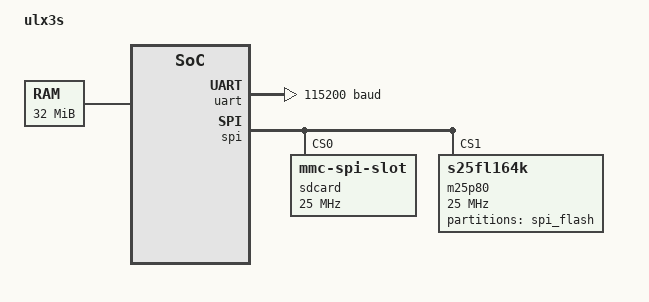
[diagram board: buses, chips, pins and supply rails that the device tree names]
/dts-v1/;

/ {
	model = "ulx3s";
	compatible = "jcore,j2-soc";
	#address-cells = <1>;
	#size-cells = <1>;
	interrupt-parent = <&aic>;

	aliases {
		serial0 = &uart;
	};

	chosen {
		stdout-path = "serial0:115200n8";
		bootargs = "console=ttyUL0 earlycon";
	};

	cpus {
		#address-cells = <1>;
		#size-cells = <0>;


		cpu@0 {
			device_type = "cpu";
			compatible = "jcore,j4";
			clock-frequency = <20000000>;
			reg = <0>;
		};
	};

	clocks {

		bus_clock: bus_clock {
			compatible = "fixed-clock";
			#clock-cells = <0>;
			clock-frequency = <20000000>;
		};
	};

	memory@10000000 {
		device_type = "memory";
		reg = <0x10000000 0x2000000>;
	};

	soc@abcd0000 {
		compatible = "simple-bus";
		ranges = <0x0 0xabcd0000 0x208>;
		#address-cells = <1>;
		#size-cells = <1>;

		timer {
			compatible = "jcore,pit";
			reg = <0x40 0x30>;
			interrupts = <0x10>;
		};

		gpio2 {
			compatible = "jcore,gpio2";
			reg = <0x0 0x10>; // ABCD0000-ABCD000F
		};

		aic: interrupt-controller {
			#interrupt-cells = <1>;
			compatible = "jcore,aic1";
			interrupt-controller;
			reg = <0x40 0x40>; // ABCD0040-ABCD007F
		};

		uart: serial {
			compatible = "jcore,uartlite", "xlnx,xps-uartlite-1.00.a";
			device_type = "serial";
			clock-frequency = <20000000>;
			current-speed = <115200>;
			reg = <0x100 0x10>; // ABCD0100-ABCD010F
		};

		spi {
			#address-cells = <1>;
			#size-cells = <0>;
			clock-names = "ref_clk";
			clocks = <&bus_clock>;
			compatible = "jcore,spi2";
			spi-max-frequency = <25000000>;
			status = "ok";
			reg = <0x200 0x8>; // ABCD0200-ABCD0207

			sdcard@0 {
				compatible = "mmc-spi-slot";
				reg = <0>;
				spi-max-frequency = <25000000>;
				voltage-ranges = <3200 3400>;
				mode = <0>;
			};

			m25p80@1 {
				compatible = "s25fl164k", "jedec,spi-nor";
				#address-cells = <1>;
				#size-cells = <1>;
				spi-max-frequency = <25000000>;
				reg = <1>;
				mode = <0>;
				m25p,fast-read;

				partition@0 {
					label = "spi_flash";
					reg = <0 0>;
				};
			};
		};
	};

	cpuid {
		compatible = "jcore,cpuid-mmio";
		reg = <0xabcd0600 0x4>;
	};
};
